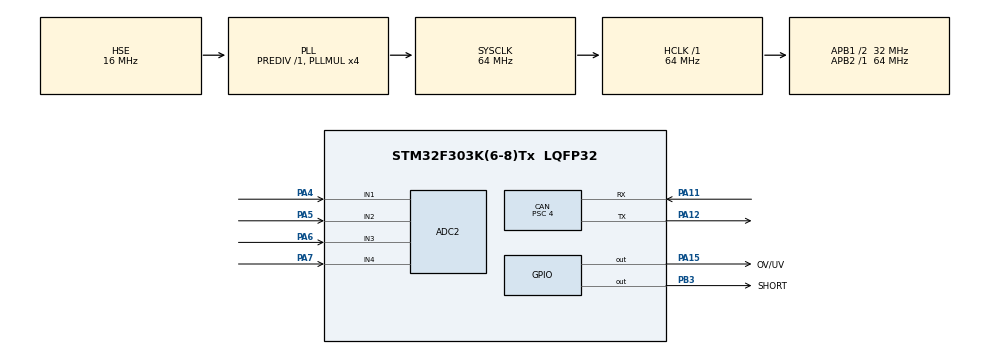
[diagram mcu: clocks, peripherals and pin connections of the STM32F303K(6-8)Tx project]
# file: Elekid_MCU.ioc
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Mcu.Family=STM32F3
PA6.Mode=IN3-Single-Ended
ADC2.OffsetNumber-2\#ChannelRegularConversion=ADC_OFFSET_NONE
RCC.CortexFreq_Value=64000000
PF0\ /\ OSC_IN.Mode=HSE-External-Oscillator
ADC2.SamplingTime-1\#ChannelRegularConversion=ADC_SAMPLETIME_1CYCLE_5
ADC2.Channel-0\#ChannelRegularConversion=ADC_CHANNEL_1
RCC.SYSCLKSourceVirtual=RCC_SYSCLKSOURCE_PLLCLK
PA11.Mode=CAN_Activate
ProjectManager.StackSize=0x400
PA15.GPIO_Label=OV/UV
PA12.Signal=CAN_TX
ADC2.SamplingTimeOPAMP-1\#ChannelRegularConversion=ADC_SAMPLETIME_4CYCLES_5
CAN.Prescaler=4
PA4.Mode=IN1-Single-Ended
ADC2.DMAContinuousRequests=ENABLE
RCC.HCLKFreq_Value=64000000
Dma.ADC2.0.Direction=DMA_PERIPH_TO_MEMORY
RCC.APB2TimFreq_Value=64000000
Dma.ADC2.0.MemInc=DMA_MINC_ENABLE
RCC.AHBFreq_Value=64000000
Dma.ADC2.0.Priority=DMA_PRIORITY_LOW
RCC.HSE_VALUE=16000000
RCC.PLLMUL=RCC_PLL_MUL4
ADC2.SamplingTimeOPAMP-2\#ChannelRegularConversion=ADC_SAMPLETIME_4CYCLES_5
PA14.Mode=Serial_Wire
NVIC.TIM2_IRQn=true\:0\:0\:false\:false\:true\:true\:true
CAN.CalculateTimeQuantum=125.0
Mcu.Package=LQFP32
TIM2.Prescaler=31999
PA6.Signal=ADC2_IN3
ADC2.Offset-0\#ChannelRegularConversion=0
ADC2.Channel-1\#ChannelRegularConversion=ADC_CHANNEL_2
ADC2.Offset-2\#ChannelRegularConversion=0
PA15.Signal=GPIO_Output
ADC2.SamplingTime-0\#ChannelRegularConversion=ADC_SAMPLETIME_1CYCLE_5
Dma.ADC2.0.Mode=DMA_CIRCULAR
ADC2.SamplingTime-2\#ChannelRegularConversion=ADC_SAMPLETIME_1CYCLE_5
Dma.ADC2.0.PeriphDataAlignment=DMA_PDATAALIGN_HALFWORD
ADC2.NbrOfConversion=4
RCC.APB1TimFreq_Value=64000000
ADC2.Rank-2\#ChannelRegularConversion=3
ADC2.Rank-0\#ChannelRegularConversion=1
Dma.Request0=ADC2
ADC2.Channel-3\#ChannelRegularConversion=ADC_CHANNEL_4
PA5.Mode=IN2-Single-Ended
PB3.GPIO_Label=SHORT
RCC.PLLSourceVirtual=RCC_PLLSOURCE_HSE
PA7.Mode=IN4-Single-Ended
ADC2.Offset-3\#ChannelRegularConversion=0
ADC2.Rank-3\#ChannelRegularConversion=4
CAN.CalculateBaudRate=500000
RCC.APB1CLKDivider=RCC_HCLK_DIV2
CAN.CalculateTimeBit=2000.00
PA13.Signal=SYS_JTMS-SWDIO
ADC2.OffsetNumber-3\#ChannelRegularConversion=ADC_OFFSET_NONE
CAN.BS2=CAN_BS2_4TQ
CAN.BS1=CAN_BS1_11TQ
ADC2.SamplingTimeOPAMP-3\#ChannelRegularConversion=ADC_SAMPLETIME_4CYCLES_5
ADC2.ContinuousConvMode=ENABLE
NVIC.DMA1_Channel2_IRQn=true\:0\:0\:false\:false\:true\:false\:true
ProjectManager.TargetToolchain=STM32CubeIDE
Dma.ADC2.0.MemDataAlignment=DMA_MDATAALIGN_HALFWORD
PF1\ /\ OSC_OUT.Signal=RCC_OSC_OUT
ADC2.OffsetNumber-1\#ChannelRegularConversion=ADC_OFFSET_NONE
PA5.Signal=ADC2_IN2
ADC2.OffsetNumber-0\#ChannelRegularConversion=ADC_OFFSET_NONE
board=custom
ADC2.Channel-2\#ChannelRegularConversion=ADC_CHANNEL_3
Dma.ADC2.0.PeriphInc=DMA_PINC_DISABLE
ADC2.Offset-1\#ChannelRegularConversion=0
RCC.APB2Freq_Value=64000000
PF0\ /\ OSC_IN.Signal=RCC_OSC_IN
VP_TIM2_VS_ClockSourceINT.Mode=Internal
ADC2.SamplingTime-3\#ChannelRegularConversion=ADC_SAMPLETIME_1CYCLE_5
TIM2.Period=399
PA13.Mode=Serial_Wire
Mcu.Name=STM32F303K(6-8)Tx
PB3.Signal=GPIO_Output
PA4.Signal=ADC2_IN1
RCC.SYSCLKFreq_VALUE=64000000
PA12.Mode=CAN_Activate
ADC2.NbrOfConversionFlag=1
PA11.Signal=CAN_RX
PA14.Signal=SYS_JTCK-SWCLK
ProjectManager.HeapSize=0x200
RCC.HSI_VALUE=8000000
NVIC.PriorityGroup=NVIC_PRIORITYGROUP_4
ADC2.Rank-1\#ChannelRegularConversion=2
RCC.APB1Freq_Value=32000000
Dma.ADC2.0.Instance=DMA1_Channel2
PF1\ /\ OSC_OUT.Mode=HSE-External-Oscillator
PA7.Signal=ADC2_IN4

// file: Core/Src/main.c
/* USER CODE BEGIN Header */
/**
  ******************************************************************************
  * @file           : main.c
  * @brief          : Main program body
  ******************************************************************************
  * @attention
  *
  * <h2><center>&copy; Copyright (c) 2021 STMicroelectronics.
  * All rights reserved.</center></h2>
  *
  * This software component is licensed by ST under BSD 3-Clause license,
  * the "License"; You may not use this file except in compliance with the
  * License. You may obtain a copy of the License at:
  *                        opensource.org/licenses/BSD-3-Clause
  *
  ******************************************************************************
  */
/* USER CODE END Header */
#include "main.h"

/* USER CODE BEGIN Includes */
#include "string.h"
/* USER CODE END Includes */

/* USER CODE BEGIN PD */
#define ADC_TO_VOLTAGE 0.000050366F
#define R_SHUNT 0.005F
#define VGain_1 8.5*ADC_TO_VOLTAGE
#define VGain_2 2.0*ADC_TO_VOLTAGE
#define IGain	ADC_TO_VOLTAGE/50.0/R_SHUNT
/* USER CODE END PD */

ADC_HandleTypeDef hadc2;
DMA_HandleTypeDef hdma_adc2;

CAN_HandleTypeDef hcan;

TIM_HandleTypeDef htim2;

/* USER CODE BEGIN PV */
uint16_t ADC2ConvertedValues[64];
float VSense[2]; 	// first one is 5V, second one is 24V
float ISense[2]; 	// first one is 5V, second one is 24V
uint8_t V_byte[4];
uint8_t I_byte[4];
float offset[4];
uint8_t IDs[2] = {0x30, 0x32};
uint8_t Data[8];
uint32_t TxMailBox = 0;
CAN_TxHeaderTypeDef TxHeader;
CAN_FilterTypeDef FilterConfig;
uint32_t sum = 0;
uint16_t mean = 0;
/* USER CODE END PV */

void SystemClock_Config(void);
static void MX_GPIO_Init(void);
static void MX_DMA_Init(void);
static void MX_ADC2_Init(void);
static void MX_CAN_Init(void);
static void MX_TIM2_Init(void);

int main(void)
{

  /* MCU Configuration--------------------------------------------------------*/

  /* Reset of all peripherals, Initializes the Flash interface and the Systick. */
  HAL_Init();

  /* Configure the system clock */
  SystemClock_Config();

  /* Initialize all configured peripherals */
  MX_GPIO_Init();
  MX_DMA_Init();
  MX_ADC2_Init();
  MX_CAN_Init();
  MX_TIM2_Init();
  /* USER CODE BEGIN 2 */
  hcan.Instance->MCR = 0x60; // important for debugging canbus, allows for normal operation during debugging
  HAL_CAN_Start(&hcan);
  HAL_ADC_Start_DMA(&hadc2, (uint32_t*)ADC2ConvertedValues, 64);
 /* HAL_TIM_Base_Start_IT(&htim2);
  __HAL_TIM_SET_COUNTER(&htim2, 0); */
 // HAL_ADC_Start(&hadc2);

  /* USER CODE END 2 */

  /* Infinite loop */
  /* USER CODE BEGIN WHILE */
  while (1)
  {
	  for (uint8_t i=0; i < 2; ++i) { 										//looping through CAN messages and sending data acquired

	  				TxHeader.StdId = IDs[i];
	  				float2Bytes(VSense[i], &V_byte[0]); 						//converting the floats to packets of bytes
	  				float2Bytes(ISense[i], &I_byte[0]);

	  				for (uint8_t j=0 ; j < 4; j++) {

	  					Data[3-j] = I_byte[j]; 									//writing down for the data buffer
	  					Data[7-j] = V_byte[j];
	  				}

	  				HAL_CAN_AddTxMessage(&hcan, &TxHeader, Data, &TxMailBox ); 	// load message to mailbox
	  				while (HAL_CAN_IsTxMessagePending( &hcan, TxMailBox));		//waiting till message gets through
	  	}
	  HAL_Delay(200);
    /* USER CODE END WHILE */

  }
}

void SystemClock_Config(void)
{
  RCC_OscInitTypeDef RCC_OscInitStruct = {0};
  RCC_ClkInitTypeDef RCC_ClkInitStruct = {0};
  RCC_PeriphCLKInitTypeDef PeriphClkInit = {0};

  /** Initializes the RCC Oscillators according to the specified parameters
  * in the RCC_OscInitTypeDef structure.
  */
  RCC_OscInitStruct.OscillatorType = RCC_OSCILLATORTYPE_HSE;
  RCC_OscInitStruct.HSEState = RCC_HSE_ON;
  RCC_OscInitStruct.HSEPredivValue = RCC_HSE_PREDIV_DIV1;
  RCC_OscInitStruct.HSIState = RCC_HSI_ON;
  RCC_OscInitStruct.PLL.PLLState = RCC_PLL_ON;
  RCC_OscInitStruct.PLL.PLLSource = RCC_PLLSOURCE_HSE;
  RCC_OscInitStruct.PLL.PLLMUL = RCC_PLL_MUL4;
  if (HAL_RCC_OscConfig(&RCC_OscInitStruct) != HAL_OK)
  {
    Error_Handler();
  }
  /** Initializes the CPU, AHB and APB buses clocks
  */
  RCC_ClkInitStruct.ClockType = RCC_CLOCKTYPE_HCLK|RCC_CLOCKTYPE_SYSCLK
                              |RCC_CLOCKTYPE_PCLK1|RCC_CLOCKTYPE_PCLK2;
  RCC_ClkInitStruct.SYSCLKSource = RCC_SYSCLKSOURCE_PLLCLK;
  RCC_ClkInitStruct.AHBCLKDivider = RCC_SYSCLK_DIV1;
  RCC_ClkInitStruct.APB1CLKDivider = RCC_HCLK_DIV2;
  RCC_ClkInitStruct.APB2CLKDivider = RCC_HCLK_DIV1;

  if (HAL_RCC_ClockConfig(&RCC_ClkInitStruct, FLASH_LATENCY_2) != HAL_OK)
  {
    Error_Handler();
  }
  PeriphClkInit.PeriphClockSelection = RCC_PERIPHCLK_ADC12;
  PeriphClkInit.Adc12ClockSelection = RCC_ADC12PLLCLK_DIV1;
  if (HAL_RCCEx_PeriphCLKConfig(&PeriphClkInit) != HAL_OK)
  {
    Error_Handler();
  }
}

static void MX_ADC2_Init(void)
{

  ADC_ChannelConfTypeDef sConfig = {0};

  /** Common config
  */
  hadc2.Instance = ADC2;
  hadc2.Init.ClockPrescaler = ADC_CLOCK_ASYNC_DIV1;
  hadc2.Init.Resolution = ADC_RESOLUTION_12B;
  hadc2.Init.ScanConvMode = ADC_SCAN_ENABLE;
  hadc2.Init.ContinuousConvMode = ENABLE;
  hadc2.Init.DiscontinuousConvMode = DISABLE;
  hadc2.Init.ExternalTrigConvEdge = ADC_EXTERNALTRIGCONVEDGE_NONE;
  hadc2.Init.ExternalTrigConv = ADC_SOFTWARE_START;
  hadc2.Init.DataAlign = ADC_DATAALIGN_RIGHT;
  hadc2.Init.NbrOfConversion = 4;
  hadc2.Init.DMAContinuousRequests = ENABLE;
  hadc2.Init.EOCSelection = ADC_EOC_SINGLE_CONV;
  hadc2.Init.LowPowerAutoWait = DISABLE;
  hadc2.Init.Overrun = ADC_OVR_DATA_OVERWRITTEN;
  if (HAL_ADC_Init(&hadc2) != HAL_OK)
  {
    Error_Handler();
  }
  /** Configure Regular Channel
  */
  sConfig.Channel = ADC_CHANNEL_1;
  sConfig.Rank = ADC_REGULAR_RANK_1;
  sConfig.SingleDiff = ADC_SINGLE_ENDED;
  sConfig.SamplingTime = ADC_SAMPLETIME_1CYCLE_5;
  sConfig.OffsetNumber = ADC_OFFSET_NONE;
  sConfig.Offset = 0;
  if (HAL_ADC_ConfigChannel(&hadc2, &sConfig) != HAL_OK)
  {
    Error_Handler();
  }
  /** Configure Regular Channel
  */
  sConfig.Channel = ADC_CHANNEL_2;
  sConfig.Rank = ADC_REGULAR_RANK_2;
  if (HAL_ADC_ConfigChannel(&hadc2, &sConfig) != HAL_OK)
  {
    Error_Handler();
  }
  /** Configure Regular Channel
  */
  sConfig.Channel = ADC_CHANNEL_3;
  sConfig.Rank = ADC_REGULAR_RANK_3;
  if (HAL_ADC_ConfigChannel(&hadc2, &sConfig) != HAL_OK)
  {
    Error_Handler();
  }
  /** Configure Regular Channel
  */
  sConfig.Channel = ADC_CHANNEL_4;
  sConfig.Rank = ADC_REGULAR_RANK_4;
  if (HAL_ADC_ConfigChannel(&hadc2, &sConfig) != HAL_OK)
  {
    Error_Handler();
  }

}

static void MX_CAN_Init(void)
{

  hcan.Instance = CAN;
  hcan.Init.Prescaler = 4;
  hcan.Init.Mode = CAN_MODE_NORMAL;
  hcan.Init.SyncJumpWidth = CAN_SJW_1TQ;
  hcan.Init.TimeSeg1 = CAN_BS1_11TQ;
  hcan.Init.TimeSeg2 = CAN_BS2_4TQ;
  hcan.Init.TimeTriggeredMode = DISABLE;
  hcan.Init.AutoBusOff = DISABLE;
  hcan.Init.AutoWakeUp = DISABLE;
  hcan.Init.AutoRetransmission = DISABLE;
  hcan.Init.ReceiveFifoLocked = DISABLE;
  hcan.Init.TransmitFifoPriority = DISABLE;
  if (HAL_CAN_Init(&hcan) != HAL_OK)
  {
    Error_Handler();
  }
  /* USER CODE BEGIN CAN_Init 2 */
  FilterConfig.FilterIdHigh = 0x0000;
  FilterConfig.FilterIdLow = 0x0000;
  FilterConfig.FilterMaskIdHigh = 0x0000;
  FilterConfig.FilterMaskIdLow = 0x0000;
  FilterConfig.FilterFIFOAssignment = CAN_FILTER_FIFO0;
  FilterConfig.FilterBank = 13;
  FilterConfig.FilterMode = CAN_FILTERMODE_IDMASK;
  FilterConfig.FilterScale = CAN_FILTERSCALE_16BIT;
  FilterConfig.FilterActivation = CAN_FILTER_ENABLE;
  HAL_CAN_ConfigFilter(&hcan, &FilterConfig);

//Configuring TX:
  TxHeader.StdId = 0x00;
  //TxHeader.ExtId = 0x01;
  TxHeader.RTR = CAN_RTR_DATA; 	 			// want data frame
  TxHeader.IDE = CAN_ID_EXT;	 			// want extended frame
  TxHeader.DLC = 8;			 	 			// amounts of bytes u sending
  TxHeader.TransmitGlobalTime = DISABLE;
  /* USER CODE END CAN_Init 2 */

}

static void MX_TIM2_Init(void)
{

  TIM_ClockConfigTypeDef sClockSourceConfig = {0};
  TIM_MasterConfigTypeDef sMasterConfig = {0};

  htim2.Instance = TIM2;
  htim2.Init.Prescaler = 31999;
  htim2.Init.CounterMode = TIM_COUNTERMODE_UP;
  htim2.Init.Period = 399;
  htim2.Init.ClockDivision = TIM_CLOCKDIVISION_DIV1;
  htim2.Init.AutoReloadPreload = TIM_AUTORELOAD_PRELOAD_DISABLE;
  if (HAL_TIM_Base_Init(&htim2) != HAL_OK)
  {
    Error_Handler();
  }
  sClockSourceConfig.ClockSource = TIM_CLOCKSOURCE_INTERNAL;
  if (HAL_TIM_ConfigClockSource(&htim2, &sClockSourceConfig) != HAL_OK)
  {
    Error_Handler();
  }
  sMasterConfig.MasterOutputTrigger = TIM_TRGO_RESET;
  sMasterConfig.MasterSlaveMode = TIM_MASTERSLAVEMODE_DISABLE;
  if (HAL_TIMEx_MasterConfigSynchronization(&htim2, &sMasterConfig) != HAL_OK)
  {
    Error_Handler();
  }

}

static void MX_DMA_Init(void)
{

  /* DMA controller clock enable */
  __HAL_RCC_DMA1_CLK_ENABLE();

  /* DMA interrupt init */
  /* DMA1_Channel2_IRQn interrupt configuration */
  HAL_NVIC_SetPriority(DMA1_Channel2_IRQn, 0, 0);
  HAL_NVIC_EnableIRQ(DMA1_Channel2_IRQn);

}

static void MX_GPIO_Init(void)
{
  GPIO_InitTypeDef GPIO_InitStruct = {0};

  /* GPIO Ports Clock Enable */
  __HAL_RCC_GPIOF_CLK_ENABLE();
  __HAL_RCC_GPIOA_CLK_ENABLE();
  __HAL_RCC_GPIOB_CLK_ENABLE();

  /*Configure GPIO pin Output Level */
  HAL_GPIO_WritePin(OV_UV_GPIO_Port, OV_UV_Pin, GPIO_PIN_RESET);

  /*Configure GPIO pin Output Level */
  HAL_GPIO_WritePin(SHORT_GPIO_Port, SHORT_Pin, GPIO_PIN_RESET);

  /*Configure GPIO pin : OV_UV_Pin */
  GPIO_InitStruct.Pin = OV_UV_Pin;
  GPIO_InitStruct.Mode = GPIO_MODE_OUTPUT_PP;
  GPIO_InitStruct.Pull = GPIO_NOPULL;
  GPIO_InitStruct.Speed = GPIO_SPEED_FREQ_LOW;
  HAL_GPIO_Init(OV_UV_GPIO_Port, &GPIO_InitStruct);

  /*Configure GPIO pin : SHORT_Pin */
  GPIO_InitStruct.Pin = SHORT_Pin;
  GPIO_InitStruct.Mode = GPIO_MODE_OUTPUT_PP;
  GPIO_InitStruct.Pull = GPIO_NOPULL;
  GPIO_InitStruct.Speed = GPIO_SPEED_FREQ_LOW;
  HAL_GPIO_Init(SHORT_GPIO_Port, &GPIO_InitStruct);

}

/* USER CODE BEGIN 4 */

void float2Bytes(float val, uint8_t *bytes_array){
  // Create union of shared memory space
  union {
    float float_variable;
    uint8_t temp_array[4];
  } u;
  // Overite bytes of union with float variable
  u.float_variable = val;
  // Assign bytes to input array
  memcpy(bytes_array, u.temp_array, 4);
}

void HAL_ADC_ConvCpltCallback(ADC_HandleTypeDef* hadc) {

	for (uint8_t i=0; i < 4; i++) {
		sum = 0;
		mean = 0;

		for(uint8_t j=0; j < 16; j++) {
			sum += ADC2ConvertedValues[i + 4*j];
		}

		mean = sum/16;

		switch (i)
		{
			case 0:
				if ( (mean > 3500) || ( mean < 2850) ) {
					HAL_GPIO_WritePin(OV_UV_GPIO_Port, OV_UV_Pin, GPIO_PIN_SET);
				}
				VSense[0] = (((float)mean)*VGain_2) + offset[i];
			break;

			case 1:
				if ( (mean > 3750) || ( mean < 2850) ) {
					HAL_GPIO_WritePin(OV_UV_GPIO_Port, OV_UV_Pin, GPIO_PIN_SET);
				}
				VSense[1] = (((float)mean)*VGain_1) + offset[i];
				break;

			case 2:
				if (mean > 700) {
					HAL_GPIO_WritePin(SHORT_GPIO_Port, SHORT_Pin, GPIO_PIN_SET);
				}
				ISense[0] = (((float)mean)*IGain) + offset[i];
				break;

			case 3:
				if (mean > 3100) {
					HAL_GPIO_WritePin(SHORT_GPIO_Port, SHORT_Pin, GPIO_PIN_SET);
				}
				ISense[1] = (((float)mean)*IGain) + offset[i];
				break;

			default:
				break;
		}

	}
}

/*void HAL_TIM_PeriodElapsedCallback(TIM_HandleTypeDef *htim) {

} */

/* USER CODE END 4 */

void Error_Handler(void)
{
  __disable_irq();
  while (1)
  {
  }
}

/************************ (C) COPYRIGHT STMicroelectronics *****END OF FILE****/
